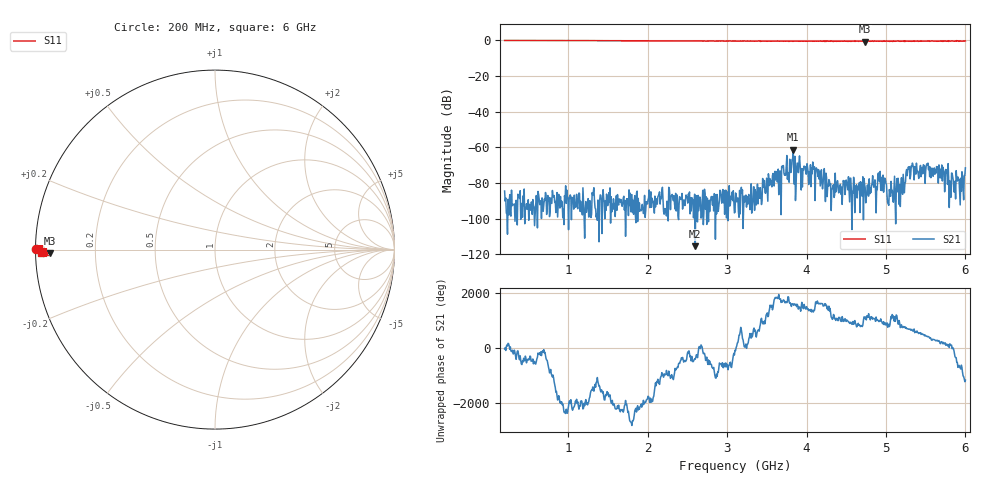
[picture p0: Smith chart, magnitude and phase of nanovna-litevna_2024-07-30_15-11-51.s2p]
! NanoVNA-App by OneOfEleven et al v1.1.209 (+OD15)
! Date: 2024-07-30 15:11:56
! Start: 200MHz Stop: 6GHz Points: 801
! S-Parameter data: F S11 S21 S12 S22
# Hz S RI R 50
!  Frequency  S11_Real  S11_Imag  S21_Real  S21_Imag  S12_Real  S12_Imag  S22_Real  S22_Imag
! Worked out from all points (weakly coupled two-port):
!   801 points, 200 MHz to 6 GHz, reference 50 ohm
!   highest |S21| = -61.34 dB at 3.832 GHz (marker M1); lowest = -115.5 dB at 2.6 GHz (marker M2)
!   lowest |S11| = -0.7 dB at 4.731 GHz (marker M3), VSWR 24.24, Z = 2.06 - j0.587 ohm
!   |S11| at or under -10 dB: nowhere
!   S12 and S22 are empty: the file has one direction only
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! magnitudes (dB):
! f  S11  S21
! 200 MHz  0.0  -84.5
! 1.171 GHz  -0.1  -94.1
! 2.136 GHz  -0.2  -87.2
! 2.6 GHz  -0.3  -115.5
! 3.1 GHz  -0.2  -96.3
! 3.484 GHz  -0.5  -85.8
! 3.832 GHz  -0.5  -61.3
! 3.869 GHz  -0.4  -81.5
! 3.897 GHz  -0.5  -74.2
! 4.043 GHz  -0.5  -79.5
! 4.072 GHz  -0.4  -74.8
! 4.289 GHz  -0.5  -78.9
! 4.731 GHz  -0.7  -80.9
! 4.934 GHz  -0.4  -84.1
! 5.036 GHz  -0.4  -92.6
! 5.217 GHz  -0.4  -75.2
! 5.311 GHz  -0.5  -75.6
! 5.434 GHz  -0.3  -70.1
! 5.529 GHz  -0.3  -68.8
! 5.565 GHz  -0.3  -77.0
! 5.92 GHz  -0.5  -77.8
! 6 GHz  -0.3  -71.5
